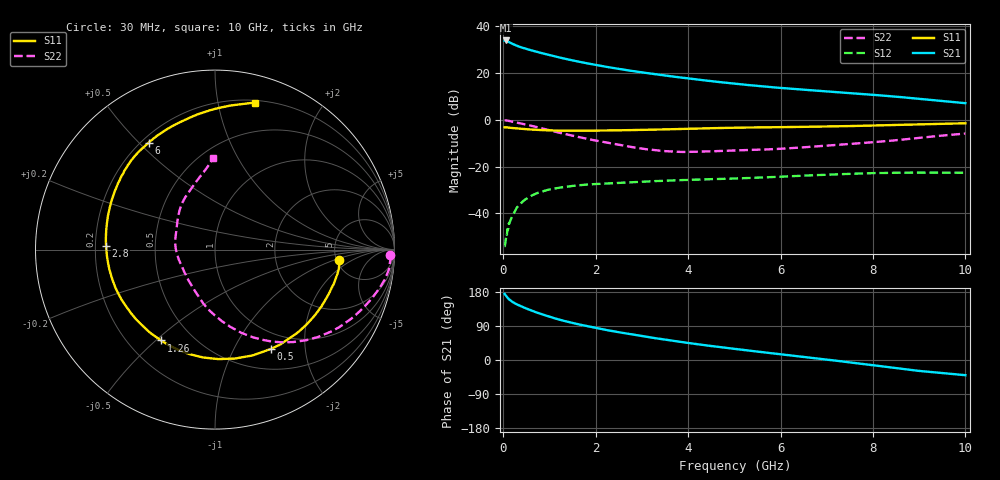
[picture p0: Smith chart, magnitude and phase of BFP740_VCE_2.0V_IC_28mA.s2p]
! Infineon Technologies  Discrete & RF Semiconductors
! BFP740
! VCE =  2.0 V,  IC =  28 mA
! Common Emitter S-Parameters:  Jan 2016
# GHz  S  MA  R  50
!  f  S11  S21  S12  S22
! GHz  MAG  ANG  MAG  ANG  MAG  ANG  MAG  ANG
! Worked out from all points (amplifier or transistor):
!   229 points, 30 MHz to 10 GHz, reference 50 ohm
!   highest |S21| = 34.0 dB at 50 MHz (marker M1)
!   |S21| within 3 dB of that: start of sweep to 400.1 MHz
!   unconditionally stable (mu >= 1): 5.68 GHz to end of sweep
!   at 280 MHz: K = 0.27, MSG = 34.9 dB, |S12| = -38.0 dB
!   at 1.78 GHz: K = 0.51, MSG = 26.0 dB, |S12| = -27.7 dB
!   at 10 GHz: K = 1.01, MAG = 14.2 dB, |S12| = -22.6 dB
!   S11 on the Smith chart (normalised r, x): 30 MHz: 5.28, -1.13; 500 MHz: 0.76, -1.42; 1.26 GHz: 0.34, -0.52; 2.8 GHz: 0.24, +0.02; 6 GHz: 0.23, +0.53; 10 GHz: 0.22, +1.28
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0.03  0.6939 -4.6  49.89 174.6  0.002 96.3  0.9783 -1.9
0.05  0.6975 -7.4  50.08 171.3  0.0026 114.3  0.9773 -4.1
0.08  0.694 -12.1  49.12 166.2  0.0035 83.9  0.9727 -7.1
0.11  0.688 -16.5  47.25 162.1  0.0048 84.2  0.9611 -9.9
0.15  0.6798 -21.8  45.02 157.6  0.0069 79.1  0.9414 -13.2
0.2  0.6724 -28.0  42.49 153.2  0.0089 74.7  0.9183 -16.8
0.34  0.6538 -43.9  37.08 144.2  0.0148 69.8  0.8593 -25.7
0.5  0.6348 -60.7  33.02 135.8  0.0206 63.2  0.7944 -34.9
0.7  0.6171 -79.6  29.08 126.3  0.0265 55.0  0.714 -45.1
0.9  0.6047 -96.2  25.88 117.9  0.0308 48.8  0.6369 -54.2
1.1  0.5946 -110.7  23.07 110.4  0.034 43.3  0.5673 -62.3
1.26  0.5883 -120.7  21.15 105.0  0.0361 39.9  0.5201 -68.0
1.7  0.587 -143.2  17.09 92.2  0.0406 33.0  0.4169 -81.8
2.2  0.5952 -163.2  13.83 79.8  0.0438 27.2  0.3339 -96.6
2.8  0.6073 177.9  11.12 67.1  0.0469 23.0  0.2615 -114.1
3.4  0.6252 162.6  9.19 55.6  0.0496 19.4  0.2204 -135.2
4.3  0.6573 143.8  7.124 40.0  0.0533 15.2  0.2106 -168.0
5.1  0.6838 131.8  5.837 27.8  0.0564 12.0  0.2246 171.0
6  0.7004 121.8  4.842 15.3  0.0611 9.0  0.2417 152.7
6.8  0.7197 112.9  4.216 4.0  0.0663 4.7  0.2722 139.0
8.4  0.7787 91.5  3.204 -20.0  0.0741 -7.0  0.3606 112.3
10  0.8482 74.9  2.283 -40.1  0.0742 -17.0  0.5113 91.0
